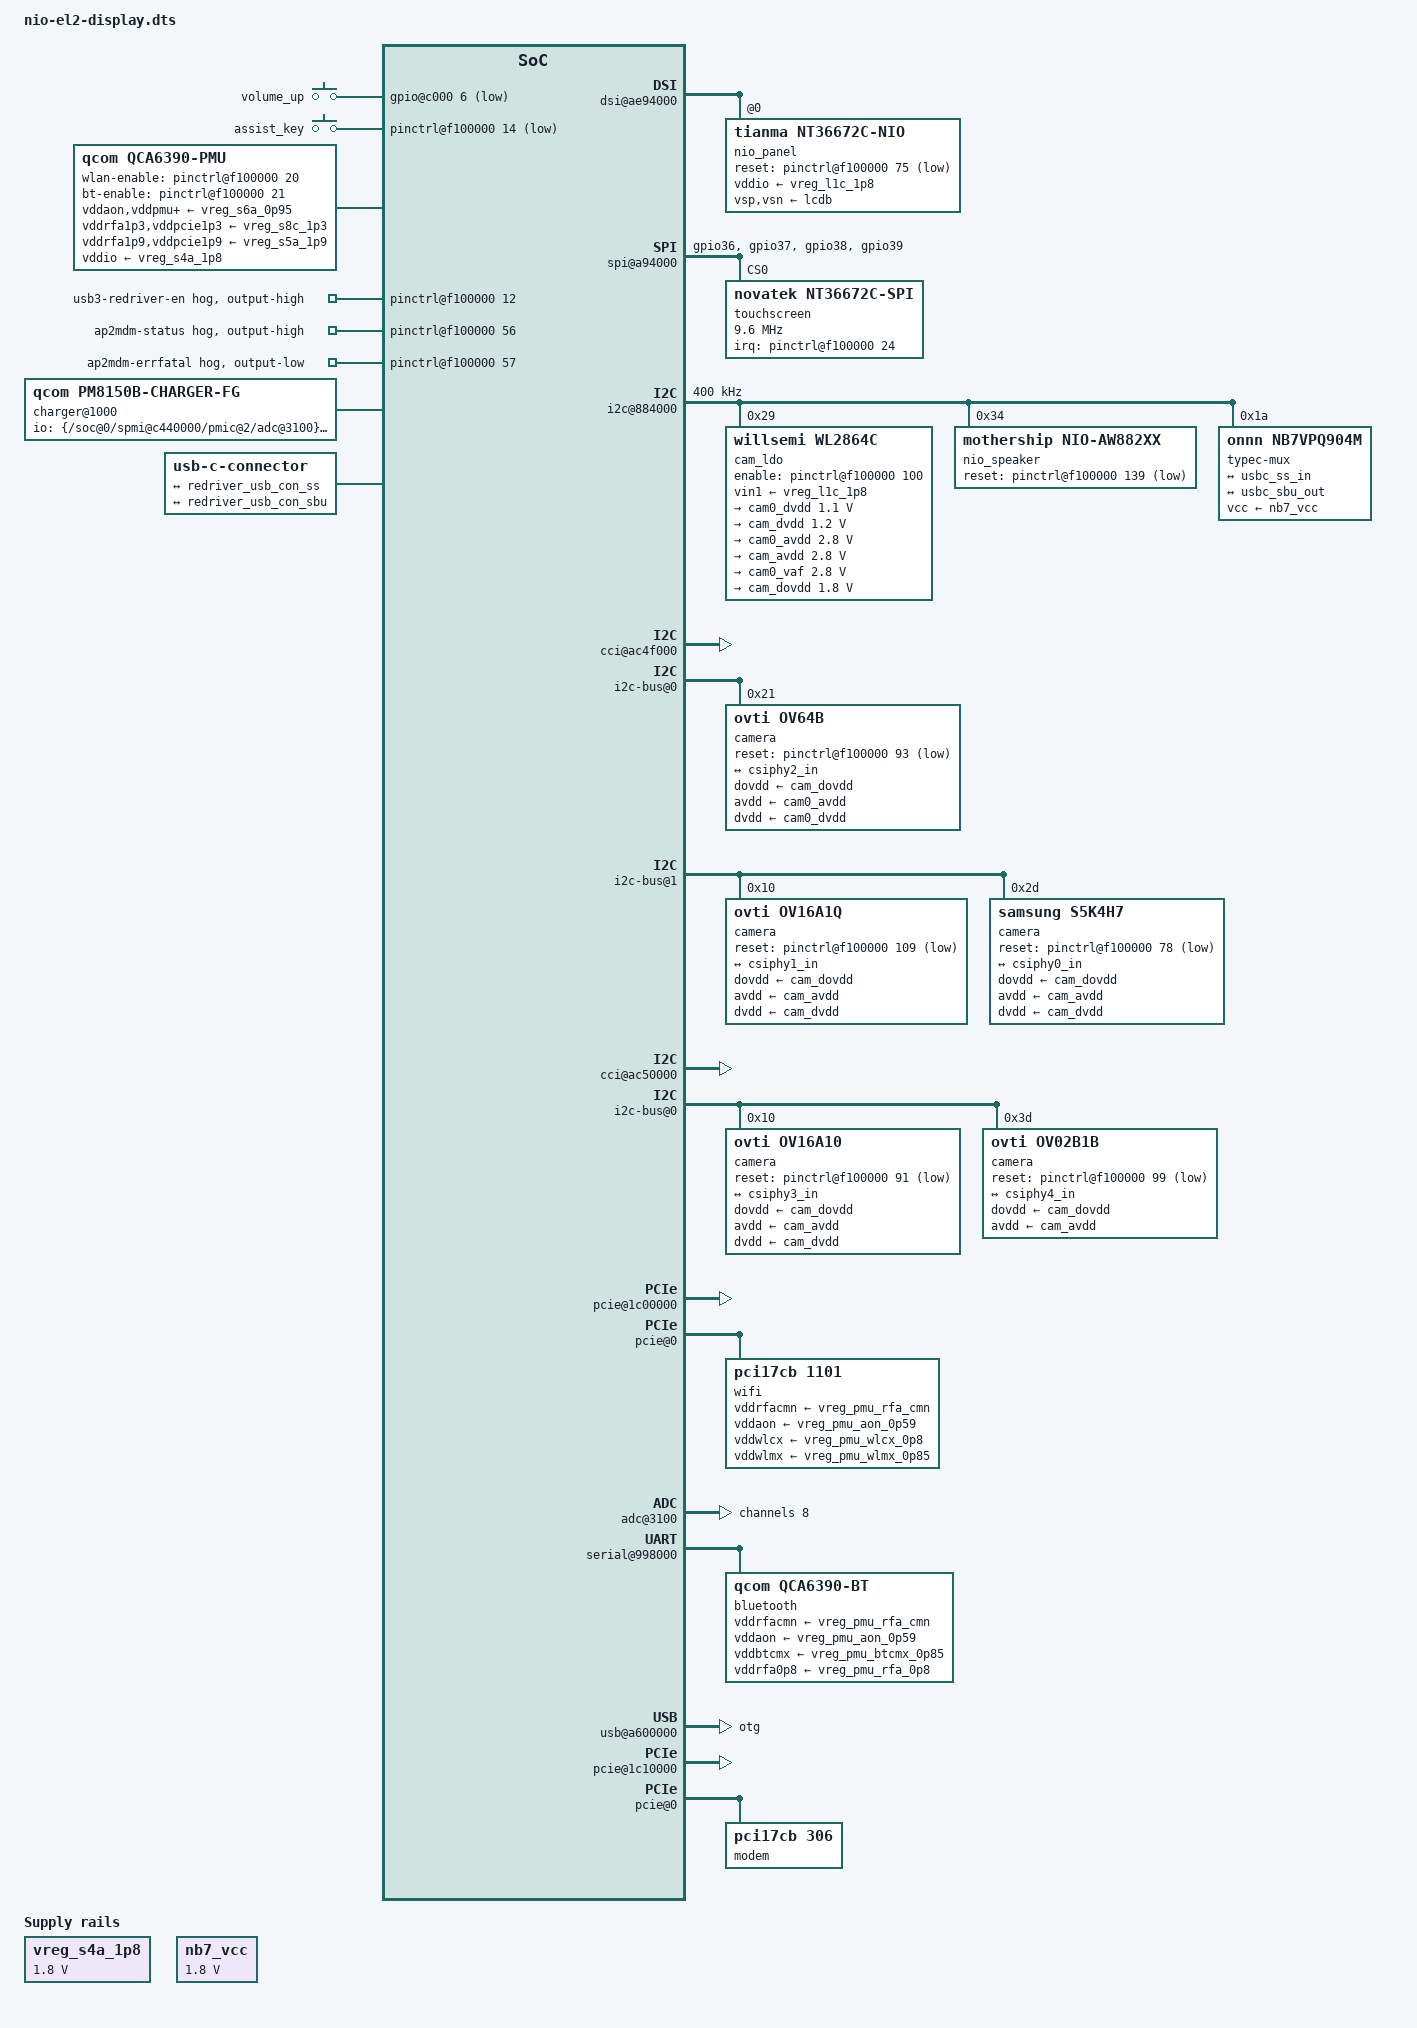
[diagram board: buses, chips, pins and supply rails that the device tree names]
// mothershipOS A4: internal panel (Tianma NT36672C 1080x2520 DSC, DSI0) + PM8150L WLED backlight.
// Layered on nio-el2.dts by path references; values from the stock nio DT
// (qcom,mdss_dsi_mot_tm_nt36672c_670_1080x2520_dsc_vid, qcom,wled@d800, dsi/phy supplies).
/include/ "nio-el2.dts"

/ {
	chosen {
		framebuffer@9c000000 {
			status = "disabled";	/* no ABL splash at EL2; msm fbdev replaces it */
		};
	};
};

&{/soc@0/rsc@18200000/regulators-0} {
	vreg_l9a_1p2: ldo9 {		/* DSI ctrl vdda (stock vdda-1p2 = pm8150_l9) */
		regulator-name = "vreg_l9a_1p2";
		regulator-min-microvolt = <1200000>;
		regulator-max-microvolt = <1200000>;
		regulator-initial-mode = <3>;
	};
};

&{/soc@0/rsc@18200000/regulators-0} {
	vreg_l18a_0p92: ldo18 {		/* USB3 QMP PHY vdda-pll (stock ssphy vdd = pm8150_l18 912 mV) */
		regulator-name = "vreg_l18a_0p92";
		regulator-min-microvolt = <912000>;
		regulator-max-microvolt = <912000>;
		regulator-initial-mode = <3>;
	};
};

&{/soc@0/rsc@18200000/regulators-1} {
	vreg_l1c_1p8: ldo1 {		/* panel vddio (stock vddio_disp = pm8150a_l1) */
		regulator-name = "vreg_l1c_1p8";
		regulator-min-microvolt = <1800000>;
		regulator-max-microvolt = <1800000>;
		regulator-initial-mode = <3>;
	};
};

&{/soc@0/spmi@c440000/pmic@5} {
	lcdb: lcdb@ec00 {		/* panel vsp/vsn (stock lcdb_ldo / lcdb_ncp) */
		compatible = "qcom,pm8150l-lcdb-switch";
		reg = <0xec00>;
		regulator-name = "lcdb";
	};
};

&{/soc@0/spmi@c440000/pmic@5/leds@d800} {
	status = "okay";
	qcom,num-strings = <4>;			/* stock string-cfg 0x0f */
	qcom,ovp-millivolt = <20500>;		/* stock qcom,ovp 20500 */
	qcom,current-boost-limit = <1050>;	/* stock boost-current-limit 1050 */
	default-brightness = <2048>;
};

&{/soc@0/pinctrl@f100000} {
	panel_default: panel-default-state {
		pins = "gpio75";
		function = "gpio";
		drive-strength = <8>;
		bias-disable;
	};

	ts_spi_default: ts-spi-default-state {	/* stock qupv3_se13_spi_active */
		pins = "gpio36", "gpio37", "gpio38", "gpio39";
		function = "qup13";
		drive-strength = <6>;
		bias-disable;
	};

	ts_int_default: ts-int-default-state {	/* stock touch_int_mux default */
		pins = "gpio24";
		function = "gpio";
		drive-strength = <2>;
		bias-disable;
	};
};

&{/soc@0/display-subsystem@ae00000} {
	status = "okay";
};

&{/soc@0/display-subsystem@ae00000/phy@ae94400} {
	status = "okay";
	vdds-supply = <&{/soc@0/rsc@18200000/regulators-0/ldo5}>;	/* vreg_l5a_0p88 */
};

&{/soc@0/display-subsystem@ae00000/dsi@ae94000} {
	status = "okay";
	vdda-supply = <&vreg_l9a_1p2>;

	nio_panel: panel@0 {
		compatible = "tianma,nt36672c-nio";
		reg = <0>;
		vddio-supply = <&vreg_l1c_1p8>;
		vsp-supply = <&lcdb>;
		vsn-supply = <&lcdb>;
		reset-gpios = <&{/soc@0/pinctrl@f100000} 75 1>;	/* GPIO_ACTIVE_LOW */
		backlight = <&{/soc@0/spmi@c440000/pmic@5/leds@d800}>;
		pinctrl-names = "default";
		pinctrl-0 = <&panel_default>;

		port {
			panel_in: endpoint {
				remote-endpoint = <&{/soc@0/display-subsystem@ae00000/dsi@ae94000/ports/port@1/endpoint}>;
			};
		};
	};
};

&{/soc@0/display-subsystem@ae00000/dsi@ae94000/ports/port@1/endpoint} {
	remote-endpoint = <&panel_in>;
	data-lanes = <0 1 2 3>;
};

/* A4 touch: Novatek NT36672C TDDI on QUP1 SE5 (spi13), firmware downloaded after each panel power-on */
&{/soc@0/dma-controller@a00000} {
	status = "okay";
};

&{/soc@0/geniqup@ac0000/spi@a94000} {
	status = "okay";
	pinctrl-names = "default";
	pinctrl-0 = <&ts_spi_default>;

	touchscreen@0 {
		compatible = "novatek,nt36672c-spi";
		reg = <0>;
		spi-max-frequency = <9600000>;		/* stock 0x927c00 */
		interrupts-extended = <&{/soc@0/pinctrl@f100000} 24 1>;	/* IRQ_TYPE_EDGE_RISING */
		pinctrl-names = "default";
		pinctrl-0 = <&ts_int_default>;
		panel = <&nio_panel>;
		firmware-name = "novatek/nt36672c-tianma-nio.bin";
		touchscreen-size-x = <1080>;
		touchscreen-size-y = <2520>;
	};
};

/* QUP SE firmware is not preloaded for SE13 in this boot chain (proto reads INVALID): let Linux load
 * it from the qupfw partition image (qupv3fw.elf, SPI segment proto 1 v0xb01). */
&{/soc@0/geniqup@ac0000} {
	firmware-name = "qcom/sm8250/nio/qupv3fw.elf";
};

/* USB3: power the QMP USB3/DP combo PHY like stock (core = pm8150_l9 1.2 V, vdd = pm8150_l18 0.912 V) */
&{/soc@0/phy@88e8000} {
	vdda-phy-supply = <&vreg_l9a_1p2>;
	vdda-pll-supply = <&vreg_l18a_0p92>;
};

/* USB-C (plug orientation, power/data roles, PD, DisplayPort alt mode): see the "USB-C" section at the end.
 * The PM8150B Type-C block is run by TCPM (qcom_pmic_tcpm) instead of patch 0007's orientation-only driver. */

/* USB3 redriver enable (stock redriver_enable: gpio12 output-high, pull-up). Without it the SS lanes are
 * cut and the link falls back to high-speed. Board has onnn,redriver@1a or diodes,pi2dpx1217@52 on
 * i2c@884000; the latter needs no I2C init ("init-none"). */
&{/soc@0/pinctrl@f100000} {
	usb_redriver_en: usb-redriver-en-hog {
		gpio-hog;
		gpios = <12 0>;
		output-high;
		line-name = "usb3-redriver-en";
	};
};

/* i2c15 (QUP2 SE1, gpio44/45): USB3 redriver (onnn@1a or diodes@52) + fsa4480@42 */
&{/soc@0/geniqup@8c0000} {
	status = "okay";
	firmware-name = "qcom/sm8250/nio/qupv3fw.elf";
};

&{/soc@0/geniqup@8c0000/i2c@884000} {
	status = "okay";
	clock-frequency = <400000>;
};

/* USB3: the base DT still forces UTMI as the PIPE clock (left from the USB2-only bring-up), which keeps
 * the DWC3 SuperSpeed side dead. Use the QMP PHY's PIPE clock again. */
&{/soc@0/usb@a6f8800} {
	/delete-property/ qcom,select-utmi-as-pipe-clk;
};

/* The rear flash: two PM8150L channels (stock pm8150l_flash0/1, a dual-tone pair), torch and flash */
&{/soc@0/spmi@c440000/pmic@5/led-controller@d300} {
	status = "okay";

	led-0 {
		function = "flash";
		color = <0>;				/* LED_COLOR_ID_WHITE */
		led-sources = <1>;
		led-max-microamp = <100000>;		/* torch */
		flash-max-microamp = <1000000>;
		flash-max-timeout-us = <1280000>;
	};

	led-1 {
		function = "flash";
		color = <6>;				/* LED_COLOR_ID_YELLOW: the warm one */
		led-sources = <2>;
		led-max-microamp = <100000>;
		flash-max-microamp = <1000000>;
		flash-max-timeout-us = <1280000>;
	};
};

/* ---- Camera stage 1: power + identify the main rear sensor (OV64B, stock cam-sensor@0) ---- */
&{/soc@0/pinctrl@f100000} {
	cam_ldo_cs: cam-ldo-cs-state {			/* WL2864C chip select (stock semi,cs-gpios) */
		pins = "gpio100";
		function = "gpio";
		drive-strength = <2>;
		bias-disable;
	};

	cam0_mclk: cam0-mclk-state {			/* stock cam_sensor_mclk2_active */
		pins = "gpio96";
		function = "cam_mclk";
		drive-strength = <6>;
		bias-disable;
	};

	cam0_reset: cam0-reset-state {			/* stock cam_sensor_active_0 */
		pins = "gpio93";
		function = "gpio";
		drive-strength = <2>;
		bias-disable;
	};

	/* the other four cameras (stock cam_sensor_mclk<n>_active, cam_sensor_active_<n>) */
	cam_fuw_mclk: cam-fuw-mclk-state {		/* MCLK0: front ultrawide S5K4H7 */
		pins = "gpio94";
		function = "cam_mclk";
		drive-strength = <6>;
		bias-disable;
	};

	cam_fm_mclk: cam-fm-mclk-state {		/* MCLK1: front OV16A1Q */
		pins = "gpio95";
		function = "cam_mclk";
		drive-strength = <6>;
		bias-disable;
	};

	cam_depth_mclk: cam-depth-mclk-state {		/* MCLK3: depth OV02B1B */
		pins = "gpio97";
		function = "cam_mclk";
		drive-strength = <6>;
		bias-disable;
	};

	cam_uw_mclk: cam-uw-mclk-state {		/* MCLK4: rear ultrawide OV16A10 */
		pins = "gpio98";
		function = "cam_mclk";
		drive-strength = <6>;
		bias-disable;
	};

	cam_fuw_reset: cam-fuw-reset-state {			/* RESET4: S5K4H7 */
		pins = "gpio78";
		function = "gpio";
		drive-strength = <2>;
		bias-disable;
	};

	cam_fm_reset: cam-fm-reset-state {			/* RESET1: OV16A1Q */
		pins = "gpio109";
		function = "gpio";
		drive-strength = <2>;
		bias-disable;
	};

	cam_depth_reset: cam-depth-reset-state {			/* RESET3: OV02B1B */
		pins = "gpio99";
		function = "gpio";
		drive-strength = <2>;
		bias-disable;
	};

	cam_uw_reset: cam-uw-reset-state {			/* RESET2: OV16A10 */
		pins = "gpio91";
		function = "gpio";
		drive-strength = <2>;
		bias-disable;
	};
};

&{/soc@0/geniqup@8c0000/i2c@884000} {
	#address-cells = <1>;
	#size-cells = <0>;

	cam_ldo: regulator@29 {
		compatible = "willsemi,wl2864c";
		reg = <0x29>;
		enable-gpios = <&{/soc@0/pinctrl@f100000} 100 0>;
		pinctrl-names = "default";
		pinctrl-0 = <&cam_ldo_cs>;
		vin1-supply = <&vreg_l1c_1p8>;

		regulators {
			cam0_dvdd: ldo1 {
				regulator-name = "cam0_dvdd_1p1";
				regulator-min-microvolt = <1100000>;
				regulator-max-microvolt = <1100000>;
			};
			cam_dvdd: ldo2 {		/* stock cam_uw_fm_fuw_dvdd_ldo */
				regulator-name = "cam_dvdd_1p2";
				regulator-min-microvolt = <1200000>;
				regulator-max-microvolt = <1200000>;
			};
			cam0_avdd: ldo3 {
				regulator-name = "cam0_avdd_2p8";
				regulator-min-microvolt = <2800000>;
				regulator-max-microvolt = <2800000>;
			};
			cam_avdd: ldo4 {		/* stock cam_uw_d_fm_fuw_avdd_ldo */
				regulator-name = "cam_avdd_2p8";
				regulator-min-microvolt = <2800000>;
				regulator-max-microvolt = <2800000>;
			};
			cam0_vaf: ldo5 {
				regulator-name = "cam0_vaf_2p8";
				regulator-min-microvolt = <2800000>;
				regulator-max-microvolt = <2800000>;
			};
			cam_dovdd: ldo7 {
				regulator-name = "cam_dovdd_1p8";
				regulator-min-microvolt = <1800000>;
				regulator-max-microvolt = <1800000>;
			};
		};
	};
};

&{/soc@0/cci@ac4f000} {
	status = "okay";
};

&{/soc@0/cci@ac4f000/i2c-bus@0} {
	#size-cells = <0>;

	camera@21 {				/* SCCB 0x21 (also answers at 0x22); AF @0x0c, EEPROM @0x58 */
		compatible = "ovti,ov64b";
		reg = <0x21>;
		clocks = <&{/soc@0/clock-controller@ad00000} 77>;	/* CAM_CC_MCLK2_CLK */
		power-domains = <&{/soc@0/clock-controller@ad00000} 5>;	/* TITAN_TOP_GDSC: MCLK branches live here */
		reset-gpios = <&{/soc@0/pinctrl@f100000} 93 1>;		/* XSHUTDOWN, active low */
		pinctrl-names = "default";
		pinctrl-0 = <&cam0_mclk &cam0_reset>;
		dovdd-supply = <&cam_dovdd>;
		avdd-supply = <&cam0_avdd>;
		dvdd-supply = <&cam0_dvdd>;
		rotation = <90>;			/* stock sensor-position-roll */
		orientation = <1>;			/* back (stock yaw 180) */

		port {
			cam0_out: endpoint {		/* -> CAMSS CSIPHY2 */
				data-lanes = <1 2 3 4>;
				link-frequencies = /bits/ 64 <849600000>;
				remote-endpoint = <&csiphy2_in>;
			};
		};
	};
};

/* The other cameras (stock kona-camera-sensor-mot-nio.dtsi; motcam driver, patch 0028) */
&{/soc@0/cci@ac4f000/i2c-bus@1} {
	#address-cells = <1>;
	#size-cells = <0>;

	camera@10 {				/* front, OV16A1Q (stock cam-sensor@1) */
		compatible = "ovti,ov16a1q";
		reg = <0x10>;
		clocks = <&{/soc@0/clock-controller@ad00000} 75>;	/* CAM_CC_MCLK1_CLK */
		power-domains = <&{/soc@0/clock-controller@ad00000} 5>;	/* TITAN_TOP_GDSC */
		reset-gpios = <&{/soc@0/pinctrl@f100000} 109 1>;
		pinctrl-names = "default";
		pinctrl-0 = <&cam_fm_mclk &cam_fm_reset>;
		dovdd-supply = <&cam_dovdd>;
		avdd-supply = <&cam_avdd>;
		dvdd-supply = <&cam_dvdd>;
		rotation = <0>;				/* stock sensor-position-roll */
		orientation = <0>;			/* front */

		port {
			cam_fm_out: endpoint {
				data-lanes = <1 2 3 4>;
				link-frequencies = /bits/ 64 <742000000 371000000>;
				remote-endpoint = <&csiphy1_in>;
			};
		};
	};

	camera@2d {				/* front ultrawide, S5K4H7 (stock cam-sensor@4) */
		compatible = "samsung,s5k4h7";
		reg = <0x2d>;
		clocks = <&{/soc@0/clock-controller@ad00000} 73>;	/* CAM_CC_MCLK0_CLK */
		power-domains = <&{/soc@0/clock-controller@ad00000} 5>;
		reset-gpios = <&{/soc@0/pinctrl@f100000} 78 1>;
		pinctrl-names = "default";
		pinctrl-0 = <&cam_fuw_mclk &cam_fuw_reset>;
		dovdd-supply = <&cam_dovdd>;
		avdd-supply = <&cam_avdd>;
		dvdd-supply = <&cam_dvdd>;
		rotation = <0>;
		orientation = <0>;

		port {
			cam_fuw_out: endpoint {
				data-lanes = <1 2 3 4>;
				link-frequencies = /bits/ 64 <336000000>;
				remote-endpoint = <&csiphy0_in>;
			};
		};
	};
};

&{/soc@0/cci@ac50000} {
	status = "okay";
};

&{/soc@0/cci@ac50000/i2c-bus@0} {
	#address-cells = <1>;
	#size-cells = <0>;

	camera@10 {				/* rear ultrawide, OV16A10 (stock cam-sensor@2) */
		compatible = "ovti,ov16a10";
		reg = <0x10>;
		clocks = <&{/soc@0/clock-controller@ad00000} 81>;	/* CAM_CC_MCLK4_CLK */
		power-domains = <&{/soc@0/clock-controller@ad00000} 5>;
		reset-gpios = <&{/soc@0/pinctrl@f100000} 91 1>;
		pinctrl-names = "default";
		pinctrl-0 = <&cam_uw_mclk &cam_uw_reset>;
		dovdd-supply = <&cam_dovdd>;
		avdd-supply = <&cam_avdd>;
		dvdd-supply = <&cam_dvdd>;
		rotation = <90>;
		orientation = <1>;			/* back */

		port {
			cam_uw_out: endpoint {
				data-lanes = <1 2 3 4>;
				link-frequencies = /bits/ 64 <786000000 360000000>;
				remote-endpoint = <&csiphy3_in>;
			};
		};
	};

	camera@3d {				/* rear depth, OV02B1B, monochrome (stock cam-sensor@3) */
		compatible = "ovti,ov02b1b";
		reg = <0x3d>;
		clocks = <&{/soc@0/clock-controller@ad00000} 79>;	/* CAM_CC_MCLK3_CLK */
		power-domains = <&{/soc@0/clock-controller@ad00000} 5>;
		reset-gpios = <&{/soc@0/pinctrl@f100000} 99 1>;
		pinctrl-names = "default";
		pinctrl-0 = <&cam_depth_mclk &cam_depth_reset>;
		dovdd-supply = <&cam_dovdd>;
		avdd-supply = <&cam_avdd>;
		rotation = <90>;
		orientation = <1>;

		port {
			cam_depth_out: endpoint {
				data-lanes = <1>;
				link-frequencies = /bits/ 64 <330000000>;
				remote-endpoint = <&csiphy4_in>;
			};
		};
	};
};

/* Camera stage 3: CAMSS CSIPHY2 <- OV64B (stock csiphy-sd-index 2, laneAssign 0x3210) */
&{/soc@0/camss@ac6a000} {
	status = "okay";
	vdda-phy-supply = <&{/soc@0/rsc@18200000/regulators-0/ldo5}>;	/* vreg_l5a_0p88 */
	vdda-pll-supply = <&vreg_l9a_1p2>;

	ports {
		#address-cells = <1>;
		#size-cells = <0>;

		port@0 {				/* S5K4H7 (stock csiphy-sd-index 0) */
			reg = <0>;
			csiphy0_in: endpoint {
				clock-lanes = <7>;
				data-lanes = <0 1 2 3>;
				remote-endpoint = <&cam_fuw_out>;
			};
		};

		port@1 {				/* OV16A1Q */
			reg = <1>;
			csiphy1_in: endpoint {
				clock-lanes = <7>;
				data-lanes = <0 1 2 3>;
				remote-endpoint = <&cam_fm_out>;
			};
		};

		port@2 {
			reg = <2>;
			csiphy2_in: endpoint {
				clock-lanes = <7>;
				data-lanes = <0 1 2 3>;
				remote-endpoint = <&cam0_out>;
			};
		};

		port@3 {				/* OV16A10 */
			reg = <3>;
			csiphy3_in: endpoint {
				clock-lanes = <7>;
				data-lanes = <0 1 2 3>;
				remote-endpoint = <&cam_uw_out>;
			};
		};

		port@4 {				/* OV02B1B, one lane */
			reg = <4>;
			csiphy4_in: endpoint {
				clock-lanes = <7>;
				data-lanes = <0>;
				remote-endpoint = <&cam_depth_out>;
			};
		};
	};
};

/* ---- Hardware buttons (stock: PON pwrkey/resin, gpio-keys vol_up on PM8150 GPIO6, assist on TLMM 14) ---- */
&{/soc@0/spmi@c440000/pmic@0/pon@800/pwrkey} {
	status = "okay";
};

&{/soc@0/spmi@c440000/pmic@0/pon@800/resin} {
	status = "okay";
	linux,code = <114>;				/* KEY_VOLUMEDOWN */
};

&{/soc@0/spmi@c440000/pmic@0/gpio@c000} {
	key_vol_up_default: key-vol-up-state {		/* stock key_vol_up_default */
		pins = "gpio6";
		function = "normal";
		input-enable;
		bias-pull-up;
		power-source = <1>;
	};
};

&{/soc@0/pinctrl@f100000} {
	key_assist_default: key-assist-state {		/* stock tlmm_gpio_key gpio_key_active */
		pins = "gpio14";
		function = "gpio";
		bias-pull-up;
	};
};

/ {
	gpio-keys {
		compatible = "gpio-keys";
		label = "gpio-keys";
		pinctrl-names = "default";
		pinctrl-0 = <&key_vol_up_default &key_assist_default>;

		key-vol-up {
			label = "volume_up";
			gpios = <&{/soc@0/spmi@c440000/pmic@0/gpio@c000} 6 1>;	/* GPIO_ACTIVE_LOW */
			linux,input-type = <1>;
			linux,code = <115>;			/* KEY_VOLUMEUP */
			wakeup-source;
			debounce-interval = <15>;
			linux,can-disable;
		};

		key-assist {
			label = "assist_key";
			gpios = <&{/soc@0/pinctrl@f100000} 14 1>;
			linux,input-type = <1>;
			linux,code = <217>;			/* KEY_SEARCH, as stock */
			debounce-interval = <15>;
			linux,can-disable;
		};
	};
};

// Wi-Fi: QCA6390 on PCIe0 (ath11k), powered through the WCN power sequencer like qrb5165-rb5.
// Supplies from the stock qcom,cnss-qca6390 node: aon/dig = pm8150_s6, io = pm8150_s4, rfa1 = pm8150_s5,
// rfa2 = pm8150l_s8, antenna switch = pm8150l_l5; wlan-en tlmm 20, bt-en tlmm 21 (sw-ctrl 124 unused).
&{/soc@0/rsc@18200000/regulators-0} {
	vreg_s5a_1p9: smps5 {
		regulator-name = "vreg_s5a_1p9";
		regulator-min-microvolt = <1904000>;
		regulator-max-microvolt = <2000000>;
		regulator-initial-mode = <3>;
	};

	vreg_s6a_0p95: smps6 {
		regulator-name = "vreg_s6a_0p95";
		regulator-min-microvolt = <920000>;
		regulator-max-microvolt = <1128000>;
		regulator-initial-mode = <3>;
	};
};

&{/soc@0/rsc@18200000/regulators-1} {
	vreg_s8c_1p3: smps8 {
		regulator-name = "vreg_s8c_1p3";
		regulator-min-microvolt = <1352000>;
		regulator-max-microvolt = <1352000>;
		regulator-initial-mode = <3>;
	};

	vreg_l5c_1p8: ldo5 {		/* WLAN antenna switch; no upstream consumer, keep it on */
		regulator-name = "vreg_l5c_1p8";
		regulator-min-microvolt = <1800000>;
		regulator-max-microvolt = <1800000>;
		regulator-initial-mode = <3>;
		regulator-always-on;
	};
};

&{/soc@0/pinctrl@f100000} {
	wlan_en_state: wlan-default-state {
		pins = "gpio20";
		function = "gpio";
		drive-strength = <16>;
		output-low;
		bias-pull-up;
	};

	bt_en_state: bt-default-state {
		pins = "gpio21";
		function = "gpio";
		drive-strength = <16>;
		output-low;
		bias-pull-up;
	};
};

/ {
	vreg_s4a_1p8: vreg-s4a-1p8 {
		compatible = "regulator-fixed";
		regulator-name = "vreg_s4a_1p8";
		regulator-min-microvolt = <1800000>;
		regulator-max-microvolt = <1800000>;
		regulator-always-on;
	};

	qca6390-pmu {
		compatible = "qcom,qca6390-pmu";
		pinctrl-names = "default";
		pinctrl-0 = <&bt_en_state &wlan_en_state>;

		vddaon-supply = <&vreg_s6a_0p95>;
		vddpmu-supply = <&vreg_s6a_0p95>;
		vddrfa0p95-supply = <&vreg_s6a_0p95>;
		vddrfa1p3-supply = <&vreg_s8c_1p3>;
		vddrfa1p9-supply = <&vreg_s5a_1p9>;
		vddpcie1p3-supply = <&vreg_s8c_1p3>;
		vddpcie1p9-supply = <&vreg_s5a_1p9>;
		vddio-supply = <&vreg_s4a_1p8>;

		wlan-enable-gpios = <&{/soc@0/pinctrl@f100000} 20 0>;
		bt-enable-gpios = <&{/soc@0/pinctrl@f100000} 21 0>;

		regulators {
			vreg_pmu_rfa_cmn: ldo0 { regulator-name = "vreg_pmu_rfa_cmn"; };
			vreg_pmu_aon_0p59: ldo1 { regulator-name = "vreg_pmu_aon_0p59"; };
			vreg_pmu_wlcx_0p8: ldo2 { regulator-name = "vreg_pmu_wlcx_0p8"; };
			vreg_pmu_wlmx_0p85: ldo3 { regulator-name = "vreg_pmu_wlmx_0p85"; };
			vreg_pmu_btcmx_0p85: ldo4 { regulator-name = "vreg_pmu_btcmx_0p85"; };
			vreg_pmu_rfa_0p8: ldo5 { regulator-name = "vreg_pmu_rfa_0p8"; };
			vreg_pmu_rfa_1p2: ldo6 { regulator-name = "vreg_pmu_rfa_1p2"; };
			vreg_pmu_rfa_1p7: ldo7 { regulator-name = "vreg_pmu_rfa_1p7"; };
			vreg_pmu_pcie_0p9: ldo8 { regulator-name = "vreg_pmu_pcie_0p9"; };
			vreg_pmu_pcie_1p8: ldo9 { regulator-name = "vreg_pmu_pcie_1p8"; };
		};
	};
};

&{/soc@0/phy@1c06000} {		/* PCIe0 QMP PHY; stock: 0.88 V pm8150_l5, 1.2 V pm8150_l9 */
	status = "okay";
	vdda-phy-supply = <&{/soc@0/rsc@18200000/regulators-0/ldo5}>;
	vdda-pll-supply = <&vreg_l9a_1p2>;
};

&{/soc@0/pcie@1c00000} {
	status = "okay";
};

&{/soc@0/pcie@1c00000/pcie@0} {
	wifi@0 {
		compatible = "pci17cb,1101";
		reg = <0x10000 0x0 0x0 0x0 0x0>;

		vddrfacmn-supply = <&vreg_pmu_rfa_cmn>;
		vddaon-supply = <&vreg_pmu_aon_0p59>;
		vddwlcx-supply = <&vreg_pmu_wlcx_0p8>;
		vddwlmx-supply = <&vreg_pmu_wlmx_0p85>;
		vddrfa0p8-supply = <&vreg_pmu_rfa_0p8>;
		vddrfa1p2-supply = <&vreg_pmu_rfa_1p2>;
		vddrfa1p7-supply = <&vreg_pmu_rfa_1p7>;
		vddpcie0p9-supply = <&vreg_pmu_pcie_0p9>;
		vddpcie1p8-supply = <&vreg_pmu_pcie_1p8>;
	};
};

// Charging: PM8150B SMB5 charger + FG gen4 fuel gauge (drivers/power/supply/qcom_pm8150b_charger.c).
// Limits from the stock DT: qcom,qpnp-smb5 (fcc-max 4 A, fv-max 4.45 V, usb-icl 3 A), battery profile
// 4794299/4793128 moto LZ50 5000 mAh, qcom,qpnp-smbcharger-mmi (iterm 150 mA, mmi-temp-zones).
&{/soc@0/spmi@c440000/pmic@2/adc@3100} {
	channel@8 {
		reg = <0x08>;			/* ADC5_USB_IN_V_16 */
		qcom,pre-scaling = <1 16>;
		label = "usb_in_v_div_16";
	};
};

&{/soc@0/spmi@c440000/pmic@2} {
	charger@1000 {
		compatible = "qcom,pm8150b-charger-fg";
		reg = <0x1000>;
		interrupts = <0x2 0x13 0x4 3>,	/* usbin-plugin, both edges */
			     <0x2 0x13 0x6 1>,	/* usbin-src-change (APSD) */
			     <0x2 0x13 0x7 1>,	/* usbin-icl-change */
			     <0x2 0x10 0x1 1>;	/* chg-state-change */
		interrupt-names = "usb-plugin", "usb-source-change", "usbin-icl-change", "chg-state-change";
		io-channels = <&{/soc@0/spmi@c440000/pmic@2/adc@3100} 0x08>;
		io-channel-names = "usb_in_v";
		constant-charge-current-max-microamp = <4000000>;
		constant-charge-voltage-max-microvolt = <4450000>;
		input-current-limit-max-microamp = <3000000>;
		charge-term-current-milliamp = <150>;
		charge-full-design-microamp-hours = <5000000>;
		/* <upper temp C, step mV, FCC below step mA, FCC above step mA (0 = hold at step)> */
		mmi,temp-zones = <0 4200 970 0>,
				 <10 4200 2500 970>,
				 <15 0 2500 2500>,
				 <45 4200 4000 3600>,
				 <60 4200 2500 0>;
	};
};

// Bluetooth: QCA6390 BT core on QUP0 SE6 high-speed UART (serial@998000, gpio16-19 = CTS/RTS/TX/RX), stock
// "qcom,qup_uart@998000" + bt_qca6390; power through the qca6390-pmu (bt-en tlmm 21) like qrb5165-rb5.
/ {
	aliases {
		serial1 = "/soc@0/geniqup@9c0000/serial@998000";
	};
};

&{/soc@0/geniqup@9c0000} {
	status = "okay";
	firmware-name = "qcom/sm8250/nio/qupv3fw.elf";	/* SE protocol fw is not preloaded in this chain */
};

&{/soc@0/pinctrl@f100000/qup-uart6-default-state} {
	/* pins/function inherited (gpio16-19, qup6); per-pin config below */
	cts-pins {
		pins = "gpio16";
		function = "qup6";
		drive-strength = <2>;
		bias-bus-hold;
	};

	rts-tx-pins {
		pins = "gpio17", "gpio18";
		function = "qup6";
		drive-strength = <2>;
		bias-disable;
	};

	rx-pins {
		pins = "gpio19";
		function = "qup6";
		drive-strength = <2>;
		bias-pull-up;		/* keep RX idle-high while the BT core is off */
	};
};

&{/soc@0/geniqup@9c0000/serial@998000} {
	status = "okay";

	bluetooth {
		compatible = "qcom,qca6390-bt";
		/* the phone's own address (stock androidboot.btmacaddr), not in git: cargo xtask fit puts in boot/bd-address */
		local-bd-address = [00 00 00 00 00 00];
		vddrfacmn-supply = <&vreg_pmu_rfa_cmn>;
		vddaon-supply = <&vreg_pmu_aon_0p59>;
		vddbtcmx-supply = <&vreg_pmu_btcmx_0p85>;
		vddrfa0p8-supply = <&vreg_pmu_rfa_0p8>;
		vddrfa1p2-supply = <&vreg_pmu_rfa_1p2>;
		vddrfa1p7-supply = <&vreg_pmu_rfa_1p7>;
	};
};

// Audio DSP (ADSP / LPASS Q6): stock modem-partition image /image/adsp.mdt + adsp.b00-b18 (ports/nio/firmware/nio-adsp),
// PAS-authenticated by TZ (EL2 SHM bridge in mdt_loader, patch 0003). APR services (q6core/afe/asm/adm) and
// fastrpc come from the base sm8250 node.
&{/soc@0/remoteproc@17300000} {
	status = "okay";
	firmware-name = "qcom/sm8250/nio/adsp.mdt";
	/* Without QHEE the Q6 core (SID 0x1800) reaches DDR through the apps SMMU: identity domain
	 * (arm-smmu-qcom client list). QHEE's LPASS clock/boot-vector bring-up is in qcom_q6v5_pas. */
	iommus = <&{/soc@0/iommu@15000000} 0x1800 0x0>;
};

// EL2 replacement for QHEE's boot-time memory sharing (TZ MEM_ASSIGN, recovered in archive/qhee-analysis:
// reports/qhee-offline/smem-partition-contracts.json, test_smem_assign.py, test_init_assign.py,
// tz-channel ledgers). qcom_scm replays these at probe when Linux runs at EL2 (patch 0011).
// <vmid perm>: perm 4 = R, 6 = RW. VMIDs: 3 HLOS, 6 ADSP, 5 SLPI, 30 CDSP, 27/26/40/4/1/2/21/22/42 others.
&{/firmware/scm} {
	mothership,el2-mem-assign-at-boot;
	el2-mem-assign {
		#address-cells = <2>;
		#size-cells = <2>;

		smem-toc { reg = <0 0x80aff000 0 0x1000>;
			qcom,vmid-perms = <3 4>, <6 4>, <5 4>, <30 4>, <27 4>, <4 4>, <40 4>, <26 4>; };
		smem-p-adsp { reg = <0 0x80acf000 0 0x30000>; qcom,vmid-perms = <3 6>, <6 6>; };
		smem-p-cdsp { status = "disabled"; reg = <0 0x80aaf000 0 0x20000>; qcom,vmid-perms = <3 6>, <30 6>; };
		smem-p-slpi { status = "disabled"; reg = <0 0x80a7f000 0 0x30000>; qcom,vmid-perms = <3 6>, <5 6>; };
		smem-p-adsp-slpi { reg = <0 0x80a73000 0 0xc000>; qcom,vmid-perms = <3 4>, <6 6>, <5 6>; };
		smem-p-27 { status = "disabled"; reg = <0 0x80a6b000 0 0x8000>; qcom,vmid-perms = <3 6>, <27 6>; };
		smem-p-1-26 { status = "disabled"; reg = <0 0x80a67000 0 0x4000>; qcom,vmid-perms = <3 4>, <1 6>, <26 6>; };
		smem-p-40 { status = "disabled"; reg = <0 0x80a57000 0 0x10000>; qcom,vmid-perms = <3 6>, <40 6>; };
		smem-p-cdsp-40 { status = "disabled"; reg = <0 0x80a47000 0 0x10000>; qcom,vmid-perms = <3 4>, <30 6>, <40 6>; };
		smem-global { reg = <0 0x80901000 0 0x146000>;
			qcom,vmid-perms = <3 6>, <6 6>, <5 6>, <30 6>, <27 6>, <4 6>, <40 6>, <26 6>; };
		smem-header { reg = <0 0x80900000 0 0x1000>;
			qcom,vmid-perms = <3 6>, <6 6>, <5 6>, <30 6>, <27 6>, <4 6>, <40 6>, <26 6>; };
		cmd-db { status = "disabled"; reg = <0 0x80860000 0 0x20000>;
			qcom,vmid-perms = <1 4>, <2 4>, <5 4>, <3 4>, <6 4>, <26 4>, <30 4>, <22 4>; };
		tz-channel-21-22 { status = "disabled"; reg = <0 0x80dc1000 0 0x1000>; qcom,vmid-perms = <21 6>, <22 6>; };
		tz-channel-21-42 { status = "disabled"; reg = <0 0x80ddc000 0 0x2000>; qcom,vmid-perms = <21 6>, <42 6>; };
	};
};

// QHEE also shares CMD-DB read-only with the ADSP before the TZ SHM bridge is enabled (after that TZ
// rejects it). The ADSP reads it at boot; without it the DSP dies on its first CMD-DB access.
&{/firmware/scm} { mothership,el2-cmdb-share-adsp; };

// ---- Built-in speaker (2026-10-12) ----
// Awinic AW882xx (chip 0x1852) smart PA on i2c15@0x34, reset gpio139 (active low), fed by the ADSP AFE
// TERTIARY_MI2S_RX on data line SD1 (gpio133 sck / gpio135 ws / gpio137 data). Fixed -36 dB gain in
// aw882xx_nio until ADSP speaker protection exists. Route: MultiMedia1 -> TERT_MI2S_RX Audio Mixer.
&{/soc@0/pinctrl@f100000} {
	nio_tert_mi2s: nio-tert-mi2s-state {
		sck { pins = "gpio133"; function = "mi2s2_sck"; drive-strength = <8>; bias-disable; };
		ws { pins = "gpio135"; function = "mi2s2_ws"; drive-strength = <8>; bias-disable; };
		sd1 { pins = "gpio137"; function = "mi2s2_data1"; drive-strength = <8>; bias-disable; };
		sd0 { pins = "gpio136"; function = "mi2s2_data0"; drive-strength = <8>; bias-disable; };	/* amp V/I out */
	};
};

&{/soc@0/geniqup@8c0000/i2c@884000} {
	nio_speaker: speaker@34 {
		compatible = "mothership,nio-aw882xx";
		reg = <0x34>;
		reset-gpios = <&{/soc@0/pinctrl@f100000} 139 1>;
		#sound-dai-cells = <0>;
	};
};

// Speaker protection = Awinic SKT inside the stock ADSP firmware (modules 0x10013D00/01), configured as
// the stock ACDB does (ports/nio/rootfs/audio/acdb_extract.py): custom topologies registered via
// AVCS, speaker port topology 0x1000FF01 + tuning + calibrated Re (persist aw_cali.bin), V/I feedback
// port TERT_MI2S_TX (SD0, 2ch S32) with topology 0x1000FF00, AFE feedback path TX -> RX.
&{/soc@0/remoteproc@17300000/glink-edge/apr/service@3} {
	mothership,custom-topologies = "qcom/sm8250/nio/nio-avcs-topologies.bin";
};

&{/soc@0/remoteproc@17300000/glink-edge/apr/service@4/dais} {
	dai@20 {						/* TERTIARY_MI2S_RX: speaker */
		reg = <20>;
		qcom,sd-lines = <1>;
		mothership,afe-topology = <0x1000ff01>;
		mothership,afe-cal = "qcom/sm8250/nio/nio-spk-afe-cal.bin";
		mothership,feedback-dai = <21>;
	};
	dai@21 {						/* TERTIARY_MI2S_TX: amp V/I feedback */
		reg = <21>;
		qcom,sd-lines = <0>;
		mothership,afe-topology = <0x1000ff00>;
		mothership,afe-cal = "qcom/sm8250/nio/nio-vi-afe-cal.bin";
		mothership,feedback-channels = <2>;
	};
};

&{/soc@0/remoteproc@17300000/glink-edge/apr/service@7/dais} {
	dai@0 { reg = <0>; };					/* MultiMedia1: speaker */
	dai@1 { reg = <1>; };					/* MultiMedia2: DisplayPort */
};

/ {
	sound {
		compatible = "qcom,sm8250-sndcard";
		model = "mothership-nio-speaker";
		mothership,tert-mi2s-s32-mono;		/* stock framing: S32 mono speaker, 64fs */
		pinctrl-names = "default";
		pinctrl-0 = <&nio_tert_mi2s>;
		widgets = "Speaker", "Speaker";
		audio-routing = "Speaker", "Speaker Output";

		/* front end first: q6asm-dai must probe before q6routing adds its routes */
		mm1-link {
			link-name = "MultiMedia1";
			cpu { sound-dai = <&{/soc@0/remoteproc@17300000/glink-edge/apr/service@7/dais} 0>; };
		};

		mm2-link {
			link-name = "MultiMedia2";
			cpu { sound-dai = <&{/soc@0/remoteproc@17300000/glink-edge/apr/service@7/dais} 1>; };
		};

		speaker-link {
			link-name = "Nio Speaker";
			cpu { sound-dai = <&{/soc@0/remoteproc@17300000/glink-edge/apr/service@4/dais} 20>; };
			platform { sound-dai = <&{/soc@0/remoteproc@17300000/glink-edge/apr/service@8/routing}>; };
			codec { sound-dai = <&nio_speaker>; };
		};

		/* USB-C DisplayPort audio (as qcm6490-fairphone-fp5): Q6 AFE DISPLAY_PORT_RX (104) -> the DP controller's
		 * audio; MultiMedia2 -> "DISPLAY_PORT_RX Audio Mixer MultiMedia2" */
		dp-link {
			link-name = "DisplayPort Playback";
			cpu { sound-dai = <&{/soc@0/remoteproc@17300000/glink-edge/apr/service@4/dais} 104>; };
			platform { sound-dai = <&{/soc@0/remoteproc@17300000/glink-edge/apr/service@8/routing}>; };
			codec { sound-dai = <&{/soc@0/display-subsystem@ae00000/displayport-controller@ae90000}>; };
		};
	};
};

/* ---- USB-C: TCPM on the PM8150B Type-C/PD block, dual role, DisplayPort alt mode (as qrb5165-rb5) ----
 * graph: connector port@0 (HS) - dwc3 port@0; connector port@1 (SS) - NB7VPQ904M retimer port@0, retimer port@1 -
 * QMP combo PHY port@0; connector port@2 (SBU) - retimer port@2; DP controller out - PHY port@2 (DP in, 2 lanes,
 * USB3 stays on the other 2). The dwc3 starts as a device (dev link to a PC) and follows the Type-C data role. */
&{/soc@0/spmi@c440000/pmic@2/usb-vbus-regulator@1100} {
	status = "okay";
	regulator-min-microamp = <500000>;
	regulator-max-microamp = <1500000>;
};

&{/soc@0/spmi@c440000/pmic@2/typec@1500} {
	status = "okay";
	vdd-pdphy-supply = <&{/soc@0/rsc@18200000/regulators-0/ldo2}>;

	connector {
		compatible = "usb-c-connector";
		power-role = "dual";
		try-power-role = "sink";		/* a PC or charger keeps charging the phone */
		data-role = "dual";
		self-powered;
		/* PDO_FIXED(5000 mV, 900 mA, DUAL_ROLE | USB_COMM | DATA_SWAP) */
		source-pdos = <0x2601905a>;
		/* PDO_FIXED(5000 mV, 3000 mA, DUAL_ROLE | USB_COMM | DATA_SWAP) */
		sink-pdos = <0x2601912c>;
		op-sink-microwatt = <10000000>;

		altmodes {
			displayport {
				svid = /bits/ 16 <0xff01>;
				vdo = <0x00001c46>;		/* DP sink pin assignments C/D/E, as rb5 */
			};
		};

		ports {
			#address-cells = <1>;
			#size-cells = <0>;

			port@0 {
				reg = <0>;
				usbc_hs_in: endpoint {
					remote-endpoint = <&{/soc@0/usb@a6f8800/usb@a600000/ports/port@0/endpoint}>;
				};
			};

			port@1 {
				reg = <1>;
				usbc_ss_in: endpoint {
					remote-endpoint = <&redriver_usb_con_ss>;
				};
			};

			port@2 {
				reg = <2>;
				usbc_sbu_out: endpoint {
					remote-endpoint = <&redriver_usb_con_sbu>;
				};
			};
		};
	};
};

/* NB7VPQ904M USB3/DP retimer (i2c15 @0x1a; enable gpio12 stays a hog above). Also the plug orientation switch:
 * it forwards orientation to the QMP PHY. Its 1.8 V VCC is on whenever the phone is (the chip answers before
 * Linux touches anything) and its rail isn't modelled here; the driver insists on a vcc supply, so it gets a
 * software-only fixed one. */
/ {
	nb7_vcc: regulator-nb7-vcc {
		compatible = "regulator-fixed";
		regulator-name = "nb7_vcc_1p8";
		regulator-min-microvolt = <1800000>;
		regulator-max-microvolt = <1800000>;
		regulator-always-on;
	};
};

&{/soc@0/geniqup@8c0000/i2c@884000} {
	typec-mux@1a {
		compatible = "onnn,nb7vpq904m";
		reg = <0x1a>;
		vcc-supply = <&nb7_vcc>;
		retimer-switch;
		orientation-switch;

		ports {
			#address-cells = <1>;
			#size-cells = <0>;

			port@0 {
				reg = <0>;
				redriver_usb_con_ss: endpoint {
					remote-endpoint = <&usbc_ss_in>;
				};
			};

			port@1 {
				reg = <1>;
				redriver_phy_con_ss: endpoint {
					remote-endpoint = <&{/soc@0/phy@88e8000/ports/port@0/endpoint}>;
					data-lanes = <0 1 2 3>;
				};
			};

			port@2 {
				reg = <2>;
				redriver_usb_con_sbu: endpoint {
					remote-endpoint = <&usbc_sbu_out>;
				};
			};
		};
	};
};

&{/soc@0/phy@88e8000/ports/port@0/endpoint} {
	remote-endpoint = <&redriver_phy_con_ss>;
};

/* The PHY follows the DP pin assignment (the retimer forwards it): C/E = 4-lane DP only (4K60; USB stays USB 2.0),
 * D = USB3 + 2-lane DP. Without mode-switch it stays in USB3+DP and DP is limited to 2 lanes. */
&{/soc@0/phy@88e8000} {
	mode-switch;
};

&{/soc@0/phy@88e8000/ports/port@2/endpoint} {
	remote-endpoint = <&{/soc@0/display-subsystem@ae00000/displayport-controller@ae90000/ports/port@1/endpoint}>;
};

&{/soc@0/usb@a6f8800/usb@a600000} {
	dr_mode = "otg";
	usb-role-switch;
	role-switch-default-mode = "peripheral";	/* the dev link comes up as before, then TCPM decides */
};

&{/soc@0/usb@a6f8800/usb@a600000/ports/port@0/endpoint} {
	remote-endpoint = <&usbc_hs_in>;
};

&{/soc@0/display-subsystem@ae00000/displayport-controller@ae90000} {
	status = "okay";
};

&{/soc@0/display-subsystem@ae00000/displayport-controller@ae90000/ports/port@1/endpoint} {
	data-lanes = <0 1 2 3>;	/* up to 4; the link uses what the pin assignment and the sink allow */
	remote-endpoint = <&{/soc@0/phy@88e8000/ports/port@2/endpoint}>;
};

/* Hardware video decode at EL2 without QHEE: non-secure (no-TZ) bring-up, as the &venus stanza of
 * ports/nio/kernel/dts/sm8250-motorola-nio.dts. The video-firmware subnode makes the venus driver load the
 * firmware itself and skip TZ's secure-SID step (unreachable from our EL2; ports/nio/docs/video.md). The firmware
 * (upstream non-secure iris2, linux-firmware qcom/vpu-1.0) is in the initramfs as venus-vpu.mbn. Its SMMU streams
 * are {0x2102, 0x2502}: SID 0x2102 mask 0x400. */
&{/soc@0/video-codec@aa00000} {
	firmware-name = "qcom/sm8250/nio/venus-vpu.mbn";
	status = "okay";

	video-firmware {
		iommus = <&{/soc@0/iommu@15000000} 0x2102 0x400>;
	};
};

/* Modem: Snapdragon X55 (SDX55, PCI 17cb:0306) on PCIe2, MHI. No flash of its own: its PBL waits for the
 * PCIe link, the host pushes sbl1 (BHI) and serves the rest over Sahara. Stock (qcom,mdm0 "qcom,ext-sdx55m",
 * esoc): ap2mdm-status gpio56, ap2mdm-errfatal gpio57, mdm2ap-status gpio3, mdm2ap-errfatal gpio1;
 * PCIe2 perst gpio85, wake gpio87; PHY 0.88 V pm8150_l5, 1.2 V pm8150_l9 (as PCIe0).
 * The host side of the handshake: status high (the AP is up), errfatal low, before PCIe2 probes. */
&{/soc@0/pinctrl@f100000} {
	ap2mdm-status-hog {
		gpio-hog;
		gpios = <56 0>;
		output-high;
		line-name = "ap2mdm-status";
	};

	ap2mdm-errfatal-hog {
		gpio-hog;
		gpios = <57 0>;
		output-low;
		line-name = "ap2mdm-errfatal";
	};
};

&{/soc@0/phy@1c16000} {
	status = "okay";
	vdda-phy-supply = <&{/soc@0/rsc@18200000/regulators-0/ldo5}>;
	vdda-pll-supply = <&vreg_l9a_1p2>;
};

&{/soc@0/pcie@1c10000} {
	status = "okay";
};

/* the modem's PCI node: "qcom,ext-sdx55m" selects the fusion profile of mhi_pci_generic (patch 0025) */
&{/soc@0/pcie@1c10000/pcie@0} {
	modem@0 {
		compatible = "pci17cb,306", "qcom,ext-sdx55m";
		reg = <0x10000 0x0 0x0 0x0 0x0>;
	};
};
